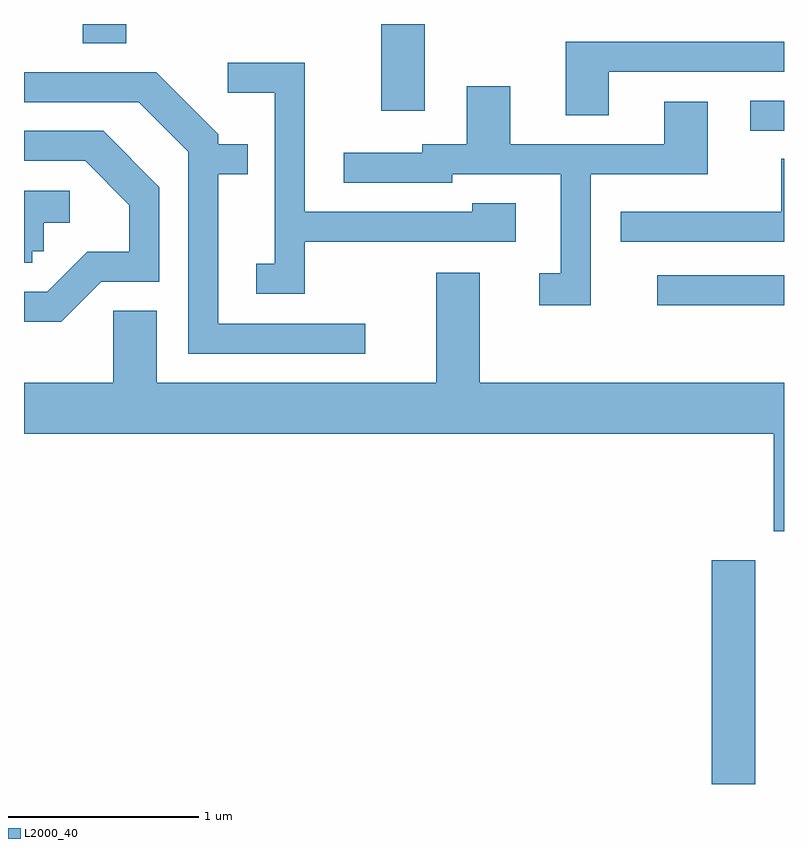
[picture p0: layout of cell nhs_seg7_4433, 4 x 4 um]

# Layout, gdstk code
import gdstk
lib = gdstk.Library(unit=1e-6, precision=1e-09)
def R(c, l, rs):  # rectangles x0, y0, x1, y1
    for r in rs: c.add(gdstk.rectangle(r[:2], r[2:], *l))
def P(c, l, *ps):  # polygons
    for p in ps: c.add(gdstk.Polygon(p, *l))
L2000_40 = (2000, 40)

nhs_seg7_4433 = lib.new_cell('nhs_seg7_4433')
R(nhs_seg7_4433, L2000_40, [(325.231,1710.252,325.459,1711.429), (324.943,1712.771,325.611,1712.929), (325.433,1713.691,325.611,1713.849), (323.491,1713.796,323.719,1714.252), (321.921,1714.151,322.149,1714.252)])
P(nhs_seg7_4433, L2000_40, [(324.689,1714.001),(325.611,1714.001),(325.611,1714.159),(324.461,1714.159),(324.461,1713.771),(324.689,1713.771)],
  [(323.089,1713.106),(324.199,1713.106),(324.199,1713.309),(323.971,1713.309),(323.971,1713.264),(323.089,1713.264),(323.089,1714.049),(322.683,1714.049),(322.683,1713.891),(322.931,1713.891),(322.931,1712.989),(322.833,1712.989),(322.833,1712.831),(323.089,1712.831)],
  [(323.408,1712.674),(322.634,1712.674),(322.634,1713.461),(322.788,1713.461),(322.788,1713.619),(322.634,1713.619),(322.634,1713.672),(322.307,1713.999),(321.611,1713.999),(321.611,1713.841),(322.214,1713.841),(322.476,1713.579),(322.476,1712.516),(323.408,1712.516)],
  [(324.594,1713.461),(325.209,1713.461),(325.209,1713.844),(324.981,1713.844),(324.981,1713.619),(324.169,1713.619),(324.169,1713.924),(323.941,1713.924),(323.941,1713.619),(323.706,1713.619),(323.706,1713.574),(323.293,1713.574),(323.293,1713.416),(323.864,1713.416),(323.864,1713.461),(324.436,1713.461),(324.436,1712.939),(324.323,1712.939),(324.323,1712.771),(324.594,1712.771)],
  [(322.017,1712.896),(322.324,1712.896),(322.324,1713.392),(322.027,1713.689),(321.611,1713.689),(321.611,1713.531),(321.934,1713.531),(322.166,1713.299),(322.166,1713.054),(321.944,1713.054),(321.734,1712.844),(321.611,1712.844),(321.611,1712.686),(321.807,1712.686)],
  [(325.611,1713.543),(325.596,1713.543),(325.596,1713.264),(324.753,1713.264),(324.753,1713.106),(325.611,1713.106)],
  [(321.654,1713.056),(321.714,1713.056),(321.714,1713.206),(321.853,1713.206),(321.853,1713.374),(321.611,1713.374),(321.611,1712.996),(321.654,1712.996)],
  [(325.611,1712.364),(324.009,1712.364),(324.009,1712.944),(323.781,1712.944),(323.781,1712.364),(322.309,1712.364),(322.309,1712.744),(322.081,1712.744),(322.081,1712.364),(321.611,1712.364),(321.611,1712.096),(325.556,1712.096),(325.556,1711.581),(325.611,1711.581)])

lib.write_gds('nhs_seg7_4433.gds')
